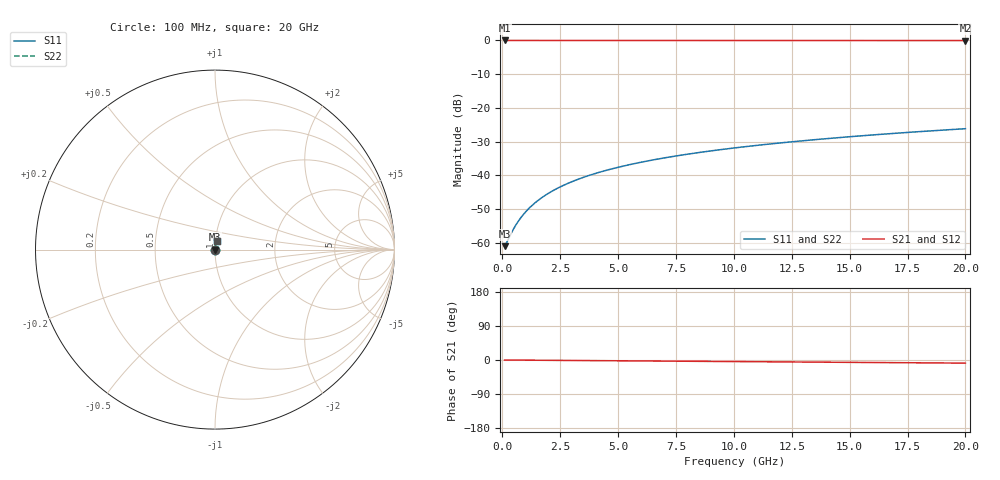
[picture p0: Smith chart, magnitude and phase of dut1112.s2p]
! Touchstone file exported from HFSS 2026.1.0
!  File:  C:/ffzhzh/LocalFiles/Ansys_Project_Files/temp_train_TSV_1112_1783190742_43440.aedt
!  Generated:  02:47:52 AM Jul  5, 2026
!  Design:  TSV
!  Project:  temp_train_TSV_1112_1783190742_43440
! Variables:
!  h_bsmrdl = 2um
!  h_ox = 20um
!  h_rdl = 5um
!  h_sub = 81.87um
!  h_tmrdl = 5um
!  h_tsv = 81.87um
!  h_via = 3um
!  l_bsmrdl = 300um
!  l_sub = 406.76um
!  l_tmrdl = 200um
!  m_sub = 200um
!  pitch = 23.26um
!  r_tsv = 3.38um
!  s_tmrdl = 10um
!  w_bsmrdl = 18um
!  w_sub = 500um
!  w_tmrdl = 12um
!  x_tsv_center1 = 206um
!  x_tsv_center2 = 524um
!  x_tsv_center3 = 736um
!  x_tsv_center4 = 1054um
!  x_tsv_center5 = 1266um
!  x_tsv_center6 = 1584um
# GHz S MA R 50.000000
! Terminal data exported
! Port[1] = TSV1_1_T1
! Port[2] = TSV1_1_T2
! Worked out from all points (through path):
!   200 points, 100 MHz to 20 GHz, reference 50 ohm
!   highest |S21| = -0.01 dB at 100 MHz (marker M1); lowest = 0.0 dB at 20 GHz (marker M2)
!   group delay of S21, straight-line fit = 1.14 ps
!   lowest |S11| = -61.0 dB at 100 MHz (marker M3), VSWR 1.00, Z = 50.1 + j0.0286 ohm
!   |S11| at or under -10 dB: start of sweep to end of sweep
!   |S22| runs from -61.0 to -26.2 dB; largest |S21 - S12| = 2.3e-15
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0.1  0.000893 18.6  0.9992 -0.0  0.9992 -0.0  0.000893 18.6
! Gamma 0 0 0 0
! Port Impedance 50 0 50 0
0.2  0.001028 33.3  0.9991 -0.1  0.9991 -0.1  0.001028 33.3
0.4  0.001418 51.3  0.9991 -0.2  0.9991 -0.2  0.001418 51.3
0.5  0.00164 56.7  0.9991 -0.2  0.9991 -0.2  0.00164 56.7
0.7  0.002113 64.1  0.9991 -0.3  0.9991 -0.3  0.002113 64.1
0.8  0.002358 66.7  0.9991 -0.3  0.9991 -0.3  0.002358 66.7
1  0.002858 70.5  0.9991 -0.4  0.9991 -0.4  0.002858 70.5
1.3  0.003625 74.2  0.999 -0.6  0.999 -0.6  0.003625 74.2
1.7  0.004662 77.0  0.999 -0.7  0.999 -0.7  0.004662 77.0
2.2  0.005967 79.0  0.9989 -0.9  0.9989 -0.9  0.005967 79.0
2.8  0.007531 80.3  0.9989 -1.2  0.9989 -1.2  0.007531 80.3
3.5  0.009345 81.0  0.9987 -1.5  0.9987 -1.5  0.009345 81.0
4.2  0.01114 81.4  0.9986 -1.8  0.9986 -1.8  0.01114 81.4
5  0.01317 81.5  0.9985 -2.1  0.9985 -2.1  0.01317 81.5
5.9  0.01543 81.5  0.9983 -2.5  0.9983 -2.5  0.01543 81.5
6.8  0.01767 81.4  0.9981 -2.9  0.9981 -2.9  0.01767 81.4
8.3  0.02135 81.2  0.9978 -3.5  0.9978 -3.5  0.02135 81.2
10.1  0.0257 80.8  0.9974 -4.2  0.9974 -4.2  0.0257 80.8
11.7  0.02954 80.4  0.9971 -4.9  0.9971 -4.9  0.02954 80.4
13.4  0.0336 80.0  0.9968 -5.6  0.9968 -5.6  0.0336 80.0
16.7  0.04142 79.1  0.9962 -6.9  0.9962 -6.9  0.04142 79.1
20  0.04919 78.0  0.9956 -8.2  0.9956 -8.2  0.04919 78.0
